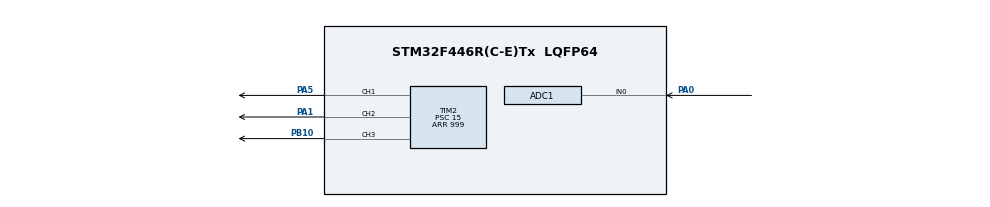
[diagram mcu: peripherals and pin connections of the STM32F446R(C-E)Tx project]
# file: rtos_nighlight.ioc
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ADC1.Channel-0\#ChannelRegularConversion=ADC_CHANNEL_0
ADC1.ContinuousConvMode=DISABLE
ADC1.DMAContinuousRequests=ENABLE
ADC1.ExternalTrigConv=ADC_EXTERNALTRIGCONV_T3_TRGO
ADC1.NbrOfConversionFlag=1
ADC1.Rank-0\#ChannelRegularConversion=1
ADC1.SamplingTime-0\#ChannelRegularConversion=ADC_SAMPLETIME_3CYCLES
ADC1.master=1
Dma.ADC1.0.Direction=DMA_PERIPH_TO_MEMORY
Dma.ADC1.0.FIFOMode=DMA_FIFOMODE_DISABLE
Dma.ADC1.0.Instance=DMA2_Stream0
Dma.ADC1.0.MemDataAlignment=DMA_MDATAALIGN_HALFWORD
Dma.ADC1.0.MemInc=DMA_MINC_ENABLE
Dma.ADC1.0.Mode=DMA_CIRCULAR
Dma.ADC1.0.PeriphDataAlignment=DMA_PDATAALIGN_HALFWORD
Dma.ADC1.0.PeriphInc=DMA_PINC_DISABLE
Dma.ADC1.0.Priority=DMA_PRIORITY_LOW
Dma.Request0=ADC1
FREERTOS.Queues01=pwmMaxQueue,1,uint32_t,0,Dynamic,NULL,NULL
FREERTOS.Tasks01=processTask,25,128,StartDefaultTask,Default,NULL,Dynamic,NULL,NULL;ledTask,8,128,StartTask02,Default,NULL,Dynamic,NULL,NULL
Mcu.Family=STM32F4
Mcu.Name=STM32F446R(C-E)Tx
Mcu.Package=LQFP64
NVIC.ADC_IRQn=true\:5\:0\:false\:false\:true\:true\:true\:true\:true
NVIC.DMA2_Stream0_IRQn=true\:5\:0\:false\:false\:true\:true\:false\:true\:true
NVIC.PriorityGroup=NVIC_PRIORITYGROUP_4
PA0-WKUP.Signal=ADCx_IN0
PA1.Signal=S_TIM2_CH2
PA13.Mode=Serial_Wire
PA13.Signal=SYS_JTMS-SWDIO
PA14.Mode=Serial_Wire
PA14.Signal=SYS_JTCK-SWCLK
PA5.Signal=S_TIM2_CH1_ETR
PB10.Signal=S_TIM2_CH3
ProjectManager.HeapSize=0x200
ProjectManager.StackSize=0x400
ProjectManager.TargetToolchain=STM32CubeIDE
RCC.CortexFreq_Value=16000000
RCC.USBFreq_Value=96000000
RCC.VCOOutputFreq_Value=192000000
SH.ADCx_IN0.0=ADC1_IN0,IN0
SH.S_TIM2_CH1_ETR.0=TIM2_CH1,PWM Generation1 CH1
SH.S_TIM2_CH2.0=TIM2_CH2,PWM Generation2 CH2
SH.S_TIM2_CH3.0=TIM2_CH3,PWM Generation3 CH3
TIM1.Period=24
TIM1.Prescaler=1599
TIM1.TIM_MasterOutputTrigger=TIM_TRGO_UPDATE
TIM2.Channel-PWM\ Generation1\ CH1=TIM_CHANNEL_1
TIM2.Channel-PWM\ Generation2\ CH2=TIM_CHANNEL_2
TIM2.Channel-PWM\ Generation3\ CH3=TIM_CHANNEL_3
TIM2.Period=999
TIM2.Prescaler=15
TIM3.Period=99
TIM3.Prescaler=15999
TIM3.TIM_MasterOutputTrigger=TIM_TRGO_UPDATE
VP_FREERTOS_VS_CMSIS_V2.Mode=CMSIS_V2
VP_TIM1_VS_ClockSourceINT.Mode=Internal
VP_TIM2_VS_ClockSourceINT.Mode=Internal
VP_TIM3_VS_ClockSourceINT.Mode=Internal
board=custom

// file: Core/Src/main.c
/* USER CODE BEGIN Header */
/**
  ******************************************************************************
  * @file           : main.c
  * @brief          : Main program body
  ******************************************************************************
  * @attention
  *
  * Copyright (c) 2026 STMicroelectronics.
  * All rights reserved.
  *
  * This software is licensed under terms that can be found in the LICENSE file
  * in the root directory of this software component.
  * If no LICENSE file comes with this software, it is provided AS-IS.
  *
  ******************************************************************************
  */
/* USER CODE END Header */
#include "main.h"
#include "cmsis_os.h"

/* USER CODE BEGIN Includes */
#include "FreeRTOS.h"
#include "task.h"
#include "queue.h"

/* USER CODE END Includes */

/* USER CODE BEGIN PD */
#define BUFFER_SIZE 16

volatile uint16_t buffer[BUFFER_SIZE];

/* USER CODE END PD */

ADC_HandleTypeDef hadc1;
DMA_HandleTypeDef hdma_adc1;

TIM_HandleTypeDef htim1;
TIM_HandleTypeDef htim2;
TIM_HandleTypeDef htim3;

/* Definitions for processTask */
osThreadId_t processTaskHandle;
const osThreadAttr_t processTask_attributes = {
  .name = "processTask",
  .stack_size = 128 * 4,
  .priority = (osPriority_t) osPriorityNormal1,
};
/* Definitions for ledTask */
osThreadId_t ledTaskHandle;
const osThreadAttr_t ledTask_attributes = {
  .name = "ledTask",
  .stack_size = 128 * 4,
  .priority = (osPriority_t) osPriorityLow,
};
/* Definitions for pwmMaxQueue */
osMessageQueueId_t pwmMaxQueueHandle;
const osMessageQueueAttr_t pwmMaxQueue_attributes = {
  .name = "pwmMaxQueue"
};

void SystemClock_Config(void);
static void MX_GPIO_Init(void);
static void MX_DMA_Init(void);
static void MX_ADC1_Init(void);
static void MX_TIM1_Init(void);
static void MX_TIM3_Init(void);
static void MX_TIM2_Init(void);
void StartDefaultTask(void *argument);
void StartTask02(void *argument);

/* USER CODE BEGIN 0 */
void HAL_ADC_ConvCpltCallback(ADC_HandleTypeDef *hadc)
{
	// When ADC is full, wake the process task
	if (hadc->Instance == ADC1)
	{
        BaseType_t xHigherPriorityTaskWoken = pdFALSE;

        // Send notification to wake the task
        vTaskNotifyGiveFromISR(processTaskHandle, &xHigherPriorityTaskWoken);

        // Context switch
        portYIELD_FROM_ISR(xHigherPriorityTaskWoken);
	}
}

/* USER CODE END 0 */

int main(void)
{

  /* MCU Configuration--------------------------------------------------------*/

  /* Reset of all peripherals, Initializes the Flash interface and the Systick. */
  HAL_Init();

  /* Configure the system clock */
  SystemClock_Config();

  /* Initialize all configured peripherals */
  MX_GPIO_Init();
  MX_DMA_Init();
  MX_ADC1_Init();
  MX_TIM1_Init();
  MX_TIM3_Init();
  MX_TIM2_Init();
  /* USER CODE BEGIN 2 */
  HAL_ADC_Start_DMA(&hadc1, (uint32_t *) buffer, BUFFER_SIZE);
  HAL_TIM_Base_Start(&htim3);
  HAL_TIM_PWM_Start(&htim2, TIM_CHANNEL_3);
  HAL_TIM_PWM_Start(&htim2, TIM_CHANNEL_1);
  HAL_TIM_PWM_Start(&htim2, TIM_CHANNEL_2);

  /* USER CODE END 2 */

  /* Init scheduler */
  osKernelInitialize();

  /* Create the queue(s) */
  /* creation of pwmMaxQueue */
  pwmMaxQueueHandle = osMessageQueueNew (1, sizeof(uint32_t), &pwmMaxQueue_attributes);

  /* Create the thread(s) */
  /* creation of processTask */
  processTaskHandle = osThreadNew(StartDefaultTask, NULL, &processTask_attributes);

  /* creation of ledTask */
  ledTaskHandle = osThreadNew(StartTask02, NULL, &ledTask_attributes);

  /* Start scheduler */
  osKernelStart();

  /* We should never get here as control is now taken by the scheduler */

  /* Infinite loop */
  while (1)
  {

  }
}

void SystemClock_Config(void)
{
  RCC_OscInitTypeDef RCC_OscInitStruct = {0};
  RCC_ClkInitTypeDef RCC_ClkInitStruct = {0};

  /** Configure the main internal regulator output voltage
  */
  __HAL_RCC_PWR_CLK_ENABLE();
  __HAL_PWR_VOLTAGESCALING_CONFIG(PWR_REGULATOR_VOLTAGE_SCALE3);

  /** Initializes the RCC Oscillators according to the specified parameters
  * in the RCC_OscInitTypeDef structure.
  */
  RCC_OscInitStruct.OscillatorType = RCC_OSCILLATORTYPE_HSI;
  RCC_OscInitStruct.HSIState = RCC_HSI_ON;
  RCC_OscInitStruct.HSICalibrationValue = RCC_HSICALIBRATION_DEFAULT;
  RCC_OscInitStruct.PLL.PLLState = RCC_PLL_NONE;
  if (HAL_RCC_OscConfig(&RCC_OscInitStruct) != HAL_OK)
  {
    Error_Handler();
  }

  /** Initializes the CPU, AHB and APB buses clocks
  */
  RCC_ClkInitStruct.ClockType = RCC_CLOCKTYPE_HCLK|RCC_CLOCKTYPE_SYSCLK
                              |RCC_CLOCKTYPE_PCLK1|RCC_CLOCKTYPE_PCLK2;
  RCC_ClkInitStruct.SYSCLKSource = RCC_SYSCLKSOURCE_HSI;
  RCC_ClkInitStruct.AHBCLKDivider = RCC_SYSCLK_DIV1;
  RCC_ClkInitStruct.APB1CLKDivider = RCC_HCLK_DIV1;
  RCC_ClkInitStruct.APB2CLKDivider = RCC_HCLK_DIV1;

  if (HAL_RCC_ClockConfig(&RCC_ClkInitStruct, FLASH_LATENCY_0) != HAL_OK)
  {
    Error_Handler();
  }
}

static void MX_ADC1_Init(void)
{

  ADC_ChannelConfTypeDef sConfig = {0};

  /** Configure the global features of the ADC (Clock, Resolution, Data Alignment and number of conversion)
  */
  hadc1.Instance = ADC1;
  hadc1.Init.ClockPrescaler = ADC_CLOCK_SYNC_PCLK_DIV2;
  hadc1.Init.Resolution = ADC_RESOLUTION_12B;
  hadc1.Init.ScanConvMode = DISABLE;
  hadc1.Init.ContinuousConvMode = DISABLE;
  hadc1.Init.DiscontinuousConvMode = DISABLE;
  hadc1.Init.ExternalTrigConvEdge = ADC_EXTERNALTRIGCONVEDGE_RISING;
  hadc1.Init.ExternalTrigConv = ADC_EXTERNALTRIGCONV_T3_TRGO;
  hadc1.Init.DataAlign = ADC_DATAALIGN_RIGHT;
  hadc1.Init.NbrOfConversion = 1;
  hadc1.Init.DMAContinuousRequests = ENABLE;
  hadc1.Init.EOCSelection = ADC_EOC_SINGLE_CONV;
  if (HAL_ADC_Init(&hadc1) != HAL_OK)
  {
    Error_Handler();
  }

  /** Configure for the selected ADC regular channel its corresponding rank in the sequencer and its sample time.
  */
  sConfig.Channel = ADC_CHANNEL_0;
  sConfig.Rank = 1;
  sConfig.SamplingTime = ADC_SAMPLETIME_3CYCLES;
  if (HAL_ADC_ConfigChannel(&hadc1, &sConfig) != HAL_OK)
  {
    Error_Handler();
  }

}

static void MX_TIM1_Init(void)
{

  TIM_ClockConfigTypeDef sClockSourceConfig = {0};
  TIM_MasterConfigTypeDef sMasterConfig = {0};

  htim1.Instance = TIM1;
  htim1.Init.Prescaler = 1599;
  htim1.Init.CounterMode = TIM_COUNTERMODE_UP;
  htim1.Init.Period = 24;
  htim1.Init.ClockDivision = TIM_CLOCKDIVISION_DIV1;
  htim1.Init.RepetitionCounter = 0;
  htim1.Init.AutoReloadPreload = TIM_AUTORELOAD_PRELOAD_DISABLE;
  if (HAL_TIM_Base_Init(&htim1) != HAL_OK)
  {
    Error_Handler();
  }
  sClockSourceConfig.ClockSource = TIM_CLOCKSOURCE_INTERNAL;
  if (HAL_TIM_ConfigClockSource(&htim1, &sClockSourceConfig) != HAL_OK)
  {
    Error_Handler();
  }
  sMasterConfig.MasterOutputTrigger = TIM_TRGO_UPDATE;
  sMasterConfig.MasterSlaveMode = TIM_MASTERSLAVEMODE_DISABLE;
  if (HAL_TIMEx_MasterConfigSynchronization(&htim1, &sMasterConfig) != HAL_OK)
  {
    Error_Handler();
  }

}

static void MX_TIM2_Init(void)
{

  TIM_ClockConfigTypeDef sClockSourceConfig = {0};
  TIM_MasterConfigTypeDef sMasterConfig = {0};
  TIM_OC_InitTypeDef sConfigOC = {0};

  htim2.Instance = TIM2;
  htim2.Init.Prescaler = 15;
  htim2.Init.CounterMode = TIM_COUNTERMODE_UP;
  htim2.Init.Period = 999;
  htim2.Init.ClockDivision = TIM_CLOCKDIVISION_DIV1;
  htim2.Init.AutoReloadPreload = TIM_AUTORELOAD_PRELOAD_DISABLE;
  if (HAL_TIM_Base_Init(&htim2) != HAL_OK)
  {
    Error_Handler();
  }
  sClockSourceConfig.ClockSource = TIM_CLOCKSOURCE_INTERNAL;
  if (HAL_TIM_ConfigClockSource(&htim2, &sClockSourceConfig) != HAL_OK)
  {
    Error_Handler();
  }
  if (HAL_TIM_PWM_Init(&htim2) != HAL_OK)
  {
    Error_Handler();
  }
  sMasterConfig.MasterOutputTrigger = TIM_TRGO_RESET;
  sMasterConfig.MasterSlaveMode = TIM_MASTERSLAVEMODE_DISABLE;
  if (HAL_TIMEx_MasterConfigSynchronization(&htim2, &sMasterConfig) != HAL_OK)
  {
    Error_Handler();
  }
  sConfigOC.OCMode = TIM_OCMODE_PWM1;
  sConfigOC.Pulse = 0;
  sConfigOC.OCPolarity = TIM_OCPOLARITY_HIGH;
  sConfigOC.OCFastMode = TIM_OCFAST_DISABLE;
  if (HAL_TIM_PWM_ConfigChannel(&htim2, &sConfigOC, TIM_CHANNEL_1) != HAL_OK)
  {
    Error_Handler();
  }
  if (HAL_TIM_PWM_ConfigChannel(&htim2, &sConfigOC, TIM_CHANNEL_2) != HAL_OK)
  {
    Error_Handler();
  }
  if (HAL_TIM_PWM_ConfigChannel(&htim2, &sConfigOC, TIM_CHANNEL_3) != HAL_OK)
  {
    Error_Handler();
  }
  HAL_TIM_MspPostInit(&htim2);

}

static void MX_TIM3_Init(void)
{

  TIM_ClockConfigTypeDef sClockSourceConfig = {0};
  TIM_MasterConfigTypeDef sMasterConfig = {0};

  htim3.Instance = TIM3;
  htim3.Init.Prescaler = 15999;
  htim3.Init.CounterMode = TIM_COUNTERMODE_UP;
  htim3.Init.Period = 99;
  htim3.Init.ClockDivision = TIM_CLOCKDIVISION_DIV1;
  htim3.Init.AutoReloadPreload = TIM_AUTORELOAD_PRELOAD_DISABLE;
  if (HAL_TIM_Base_Init(&htim3) != HAL_OK)
  {
    Error_Handler();
  }
  sClockSourceConfig.ClockSource = TIM_CLOCKSOURCE_INTERNAL;
  if (HAL_TIM_ConfigClockSource(&htim3, &sClockSourceConfig) != HAL_OK)
  {
    Error_Handler();
  }
  sMasterConfig.MasterOutputTrigger = TIM_TRGO_UPDATE;
  sMasterConfig.MasterSlaveMode = TIM_MASTERSLAVEMODE_DISABLE;
  if (HAL_TIMEx_MasterConfigSynchronization(&htim3, &sMasterConfig) != HAL_OK)
  {
    Error_Handler();
  }

}

static void MX_DMA_Init(void)
{

  /* DMA controller clock enable */
  __HAL_RCC_DMA2_CLK_ENABLE();

  /* DMA interrupt init */
  /* DMA2_Stream0_IRQn interrupt configuration */
  HAL_NVIC_SetPriority(DMA2_Stream0_IRQn, 5, 0);
  HAL_NVIC_EnableIRQ(DMA2_Stream0_IRQn);

}

static void MX_GPIO_Init(void)
{

  /* GPIO Ports Clock Enable */
  __HAL_RCC_GPIOA_CLK_ENABLE();
  __HAL_RCC_GPIOB_CLK_ENABLE();

}

void StartDefaultTask(void *argument)
{
  /* USER CODE BEGIN 5 */
  uint32_t pwm_max = 0;
  uint32_t sensor_avg;
  /* Infinite loop */
  for(;;)
  {
	  ulTaskNotifyTake(pdTRUE, portMAX_DELAY); // block until woken

	  // Processing code
	  uint32_t sum = 0;

	  for (int i = 0; i < BUFFER_SIZE; i++)
	  {
		  sum += buffer[i];
	  }

	  sensor_avg = sum / BUFFER_SIZE;

	  if (sensor_avg <= 1000)
	  {
		  pwm_max = 999;
	  }
	  else if (sensor_avg >= 3800)
	  {
		  pwm_max = 0;
	  }
	  else
	  {
		  pwm_max = 999 - ((sensor_avg - 1000) * 999) / 2800;
	  }

	  xQueueOverwrite(pwmMaxQueueHandle, &pwm_max); // Send pwm_max to queue
  }
  /* USER CODE END 5 */
}

void StartTask02(void *argument)
{
  /* USER CODE BEGIN StartTask02 */
  TickType_t lastWakeTime;
  const TickType_t frequency = pdMS_TO_TICKS(180);

  uint32_t pwm_max = 0;
  uint32_t pwm_curr = 0;

  lastWakeTime = xTaskGetTickCount();
  /* Infinite loop */
  for(;;)
  {
	  xQueueReceive(pwmMaxQueueHandle, &pwm_max, 0);
	  if (pwm_curr < pwm_max)
	  {
		  pwm_curr++;
	  }
	  else if (pwm_curr > pwm_max)
	  {
		  pwm_curr--;
	  }

	  __HAL_TIM_SET_COMPARE(&htim2, TIM_CHANNEL_3, pwm_curr);
	  __HAL_TIM_SET_COMPARE(&htim2, TIM_CHANNEL_1, pwm_curr);
	  __HAL_TIM_SET_COMPARE(&htim2, TIM_CHANNEL_2, pwm_curr);

	  vTaskDelayUntil(&lastWakeTime, frequency);
  }
  /* USER CODE END StartTask02 */
}

void Error_Handler(void)
{
  __disable_irq();
  while (1)
  {
  }
}
